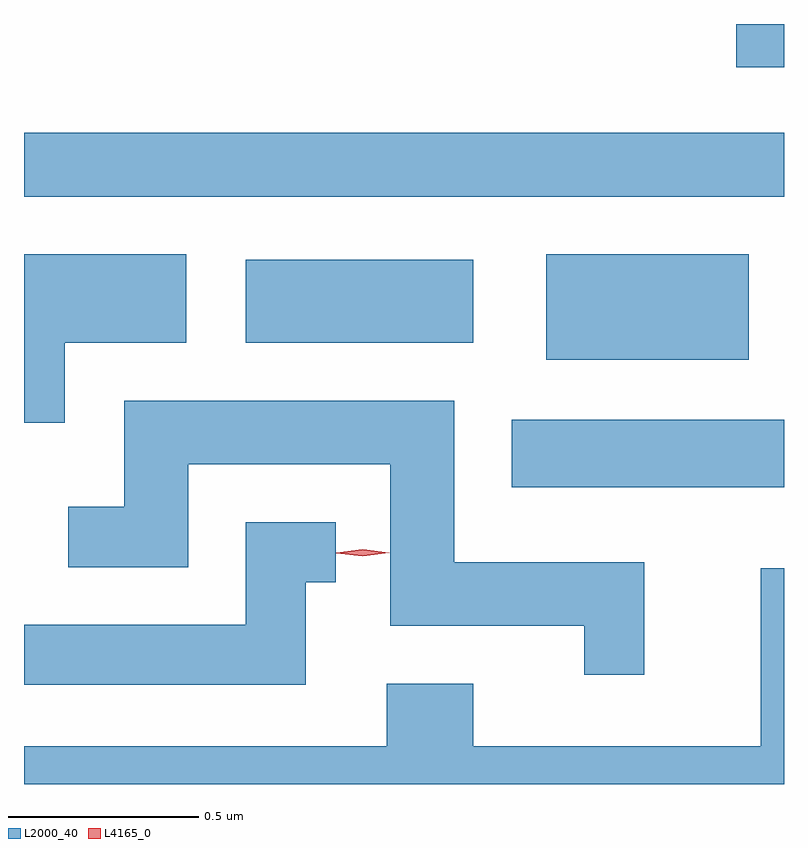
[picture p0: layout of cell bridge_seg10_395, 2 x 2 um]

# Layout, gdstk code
import gdstk
lib = gdstk.Library(unit=1e-6, precision=1e-09)
def R(c, l, rs):  # rectangles x0, y0, x1, y1
    for r in rs: c.add(gdstk.rectangle(r[:2], r[2:], *l))
def P(c, l, *ps):  # polygons
    for p in ps: c.add(gdstk.Polygon(p, *l))
L2000_40 = (2000, 40)
L4165_0 = (4165, 0)

bridge_seg10_395 = lib.new_cell('bridge_seg10_395')
R(bridge_seg10_395, L2000_40, [(1109.561,2083.786,1110.277,2083.964), (1109.651,2084.121,1110.184,2084.399), (1108.861,2084.166,1109.459,2084.384), (1108.277,2084.551,1110.277,2084.719), (1110.151,2084.891,1110.277,2085.005)])
P(bridge_seg10_395, L2000_40, [(1108.384,2084.166),(1108.704,2084.166),(1108.704,2084.399),(1108.277,2084.399),(1108.277,2083.956),(1108.384,2083.956)],
  [(1109.909,2083.589),(1109.409,2083.589),(1109.409,2084.014),(1108.541,2084.014),(1108.541,2083.734),(1108.393,2083.734),(1108.393,2083.576),(1108.709,2083.576),(1108.709,2083.846),(1109.241,2083.846),(1109.241,2083.421),(1109.751,2083.421),(1109.751,2083.293),(1109.909,2083.293)],
  [(1109.019,2083.536),(1109.098,2083.536),(1109.098,2083.694),(1108.861,2083.694),(1108.861,2083.424),(1108.277,2083.424),(1108.277,2083.266),(1109.019,2083.266)],
  [(1110.277,2083.573),(1110.216,2083.573),(1110.216,2083.104),(1109.459,2083.104),(1109.459,2083.269),(1109.231,2083.269),(1109.231,2083.104),(1108.277,2083.104),(1108.277,2083.005),(1110.277,2083.005)])
P(bridge_seg10_395, L4165_0, [(1109.168,2083.604),(1109.099,2083.612),(1109.099,2083.613),(1109.099,2083.613),(1109.168,2083.623),(1109.238,2083.614),(1109.238,2083.614),(1109.238,2083.613)])

lib.write_gds('bridge_seg10_395.gds')
